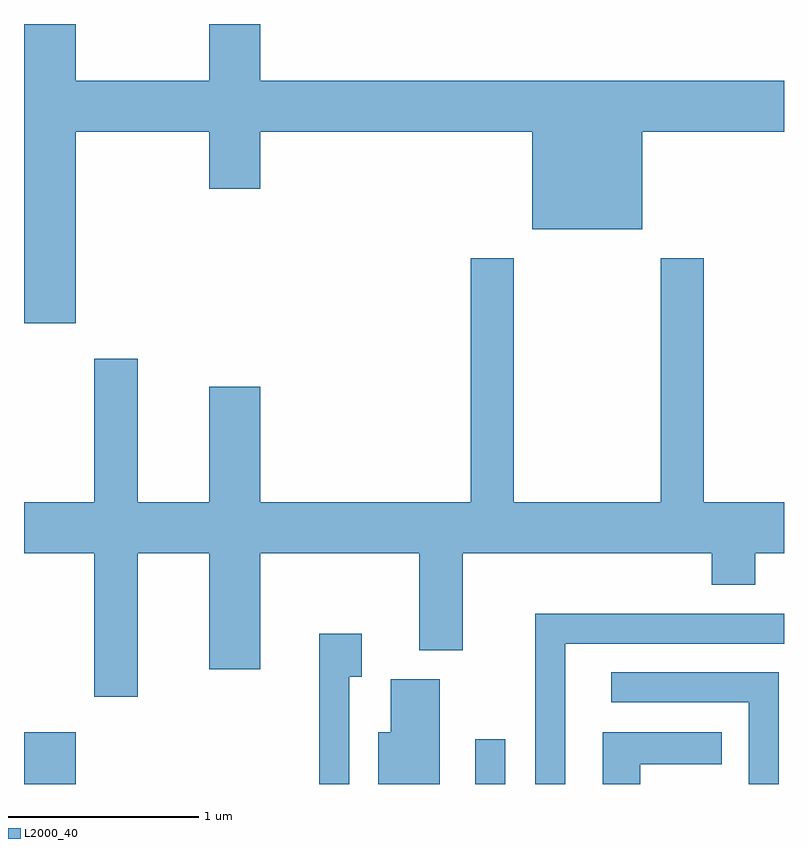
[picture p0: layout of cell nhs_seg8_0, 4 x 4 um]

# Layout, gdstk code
import gdstk
lib = gdstk.Library(unit=1e-6, precision=1e-09)
def R(c, l, rs):  # rectangles x0, y0, x1, y1
    for r in rs: c.add(gdstk.rectangle(r[:2], r[2:], *l))
def P(c, l, *ps):  # polygons
    for p in ps: c.add(gdstk.Polygon(p, *l))
L2000_40 = (2000, 40)

nhs_seg8_0 = lib.new_cell('nhs_seg8_0')
R(nhs_seg8_0, L2000_40, [(185.611,1806.342,185.884,1806.614), (187.986,1806.342,188.144,1806.578)])
P(nhs_seg8_0, L2000_40, [(185.884,1809.776),(186.586,1809.776),(186.586,1809.476),(186.854,1809.476),(186.854,1809.776),(188.286,1809.776),(188.286,1809.261),(188.864,1809.261),(188.864,1809.776),(189.611,1809.776),(189.611,1810.044),(186.854,1810.044),(186.854,1810.342),(186.586,1810.342),(186.586,1810.044),(185.884,1810.044),(185.884,1810.342),(185.611,1810.342),(185.611,1808.766),(185.884,1808.766)],
  [(186.209,1807.556),(186.586,1807.556),(186.586,1806.946),(186.854,1806.946),(186.854,1807.556),(187.691,1807.556),(187.691,1807.046),(187.919,1807.046),(187.919,1807.556),(189.231,1807.556),(189.231,1807.391),(189.459,1807.391),(189.459,1807.556),(189.611,1807.556),(189.611,1807.824),(189.189,1807.824),(189.189,1809.109),(188.961,1809.109),(188.961,1807.824),(188.189,1807.824),(188.189,1809.109),(187.961,1809.109),(187.961,1807.824),(186.854,1807.824),(186.854,1808.434),(186.586,1808.434),(186.586,1807.824),(186.209,1807.824),(186.209,1808.579),(185.981,1808.579),(185.981,1807.824),(185.611,1807.824),(185.611,1807.556),(185.981,1807.556),(185.981,1806.801),(186.209,1806.801)],
  [(188.459,1807.081),(189.611,1807.081),(189.611,1807.239),(188.301,1807.239),(188.301,1806.342),(188.459,1806.342)],
  [(187.324,1806.906),(187.389,1806.906),(187.389,1807.134),(187.166,1807.134),(187.166,1806.342),(187.324,1806.342)],
  [(189.584,1806.929),(188.703,1806.929),(188.703,1806.771),(189.426,1806.771),(189.426,1806.342),(189.584,1806.342)],
  [(187.799,1806.894),(187.541,1806.894),(187.541,1806.614),(187.476,1806.614),(187.476,1806.342),(187.799,1806.342)],
  [(188.854,1806.446),(189.283,1806.446),(189.283,1806.614),(188.656,1806.614),(188.656,1806.342),(188.854,1806.342)])

lib.write_gds('nhs_seg8_0.gds')
